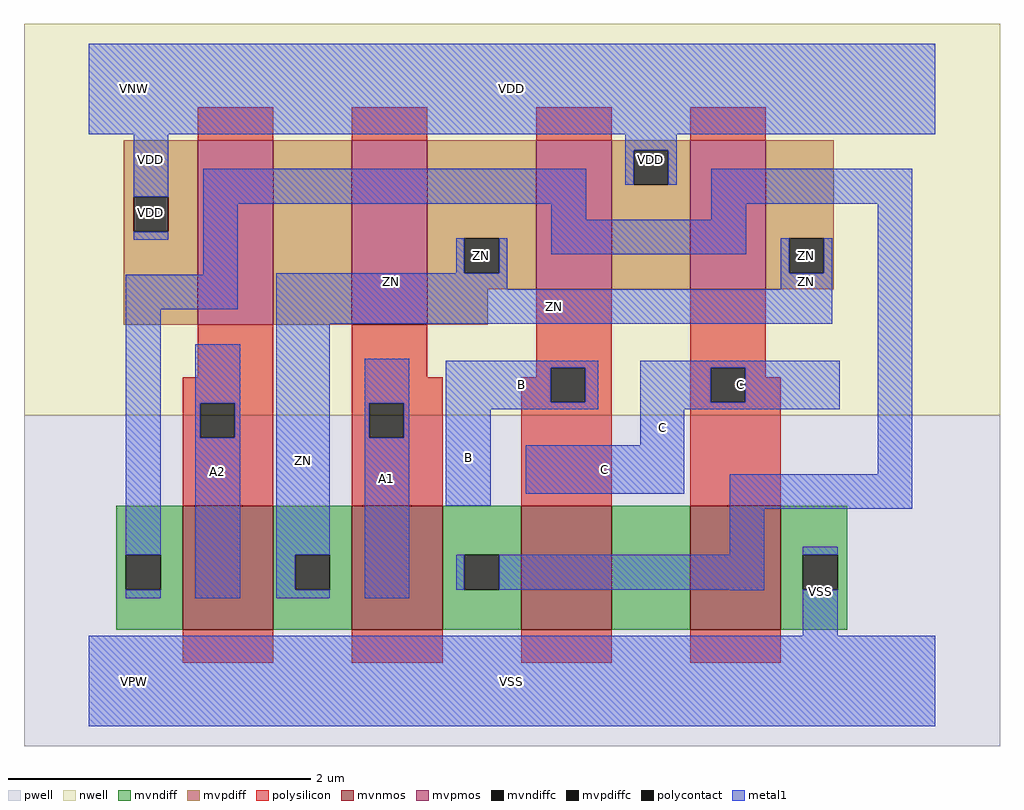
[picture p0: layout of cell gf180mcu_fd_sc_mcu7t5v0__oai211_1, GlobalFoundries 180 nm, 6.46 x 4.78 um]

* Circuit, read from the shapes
.subckt gf180mcu_fd_sc_mcu7t5v0__oai211_1 A1 A2 B C ZN VDD VNW VPW VSS
XM1 ZN A2 n1 VPW nfet_06v0 w=0.82u l=0.6u
XM2 n1 A1 ZN VPW nfet_06v0 w=0.82u l=0.6u
XM3 n2 B n1 VPW nfet_06v0 w=0.82u l=0.6u
XM4 VSS C n2 VPW nfet_06v0 w=0.82u l=0.6u
XM5 n3 A2 VDD VNW pfet_06v0 w=1.22u l=0.5u
XM6 ZN A1 n3 VNW pfet_06v0 w=1.22u l=0.5u
XM7 VDD B ZN VNW pfet_06v0 w=0.985u l=0.5u
XM8 ZN C VDD VNW pfet_06v0 w=0.985u l=0.5u
.ends

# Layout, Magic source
magic
tech gf180mcuD
magscale 1 10
<< nwell >>
rect -86 352 1206 870
<< pwell >>
rect -86 -86 1206 352
<< mvnmos >>
rect 124 68 244 232
rect 348 68 468 232
rect 572 68 692 232
rect 796 68 916 232
<< mvpmos >>
rect 144 472 244 716
rect 348 472 448 716
rect 592 519 692 716
rect 796 519 896 716
<< mvndiff >>
rect 36 167 124 232
rect 36 121 49 167
rect 95 121 124 167
rect 36 68 124 121
rect 244 167 348 232
rect 244 121 273 167
rect 319 121 348 167
rect 244 68 348 121
rect 468 167 572 232
rect 468 121 497 167
rect 543 121 572 167
rect 468 68 572 121
rect 692 68 796 232
rect 916 167 1004 232
rect 916 121 945 167
rect 991 121 1004 167
rect 916 68 1004 121
<< mvpdiff >>
rect 46 641 144 716
rect 46 595 59 641
rect 105 595 144 641
rect 46 472 144 595
rect 244 472 348 716
rect 448 586 592 716
rect 448 540 497 586
rect 543 540 592 586
rect 448 519 592 540
rect 692 703 796 716
rect 692 657 721 703
rect 767 657 796 703
rect 692 519 796 657
rect 896 586 986 716
rect 896 540 927 586
rect 973 540 986 586
rect 896 519 986 540
rect 448 472 528 519
<< mvndiffc >>
rect 49 121 95 167
rect 273 121 319 167
rect 497 121 543 167
rect 945 121 991 167
<< mvpdiffc >>
rect 59 595 105 641
rect 497 540 543 586
rect 721 657 767 703
rect 927 540 973 586
<< polysilicon >>
rect 144 716 244 760
rect 348 716 448 760
rect 592 716 692 760
rect 796 716 896 760
rect 144 402 244 472
rect 124 368 244 402
rect 124 322 147 368
rect 193 322 244 368
rect 124 232 244 322
rect 348 402 448 472
rect 592 415 692 519
rect 592 402 611 415
rect 348 368 468 402
rect 348 322 371 368
rect 417 322 468 368
rect 348 232 468 322
rect 572 369 611 402
rect 657 369 692 415
rect 572 232 692 369
rect 796 415 896 519
rect 796 369 823 415
rect 869 402 896 415
rect 869 369 916 402
rect 796 232 916 369
rect 124 24 244 68
rect 348 24 468 68
rect 572 24 692 68
rect 796 24 916 68
<< polycontact >>
rect 147 322 193 368
rect 371 322 417 368
rect 611 369 657 415
rect 823 369 869 415
<< metal1 >>
rect 0 724 1120 844
rect 59 641 105 724
rect 710 703 778 724
rect 59 584 105 595
rect 151 632 658 678
rect 710 657 721 703
rect 767 657 778 703
rect 151 538 197 632
rect 612 611 658 632
rect 824 632 1090 678
rect 824 611 870 632
rect 486 540 497 586
rect 543 540 554 586
rect 612 565 870 611
rect 49 492 197 538
rect 248 519 554 540
rect 916 540 927 586
rect 973 540 984 586
rect 916 519 984 540
rect 49 167 95 492
rect 248 473 984 519
rect 49 110 95 121
rect 141 368 200 446
rect 141 322 147 368
rect 193 322 200 368
rect 141 110 200 322
rect 248 167 319 473
rect 248 121 273 167
rect 248 110 319 121
rect 365 368 424 427
rect 365 322 371 368
rect 417 322 424 368
rect 365 110 424 322
rect 472 415 674 424
rect 472 369 611 415
rect 657 369 674 415
rect 472 360 674 369
rect 730 415 994 424
rect 730 369 823 415
rect 869 369 994 415
rect 730 360 994 369
rect 472 232 532 360
rect 730 312 788 360
rect 578 248 788 312
rect 1044 274 1090 632
rect 848 228 1090 274
rect 848 167 894 228
rect 486 121 497 167
rect 543 121 894 167
rect 848 120 894 121
rect 945 167 991 178
rect 945 60 991 121
rect 0 -60 1120 60
<< labels >>
flabel metal1 s 472 360 674 424 0 FreeSans 400 0 0 0 B
port 3 nsew default input
flabel metal1 s 730 360 994 424 0 FreeSans 400 0 0 0 C
port 4 nsew default input
flabel metal1 s 0 724 1120 844 0 FreeSans 400 0 0 0 VDD
port 6 nsew power bidirectional abutment
flabel metal1 s 945 60 991 178 0 FreeSans 400 0 0 0 VSS
port 9 nsew ground bidirectional abutment
flabel metal1 s 916 540 984 586 0 FreeSans 400 0 0 0 ZN
port 5 nsew default output
flabel metal1 s 365 110 424 427 0 FreeSans 400 0 0 0 A1
port 1 nsew default input
flabel metal1 s 141 110 200 446 0 FreeSans 400 0 0 0 A2
port 2 nsew default input
flabel nwell s 10 734 110 834 0 FreeSans 400 0 0 0 VNW
port 7 nsew power bidirectional
flabel pwell s 10 -50 110 50 0 FreeSans 400 0 0 0 VPW
port 8 nsew ground bidirectional
rlabel metal1 s 472 232 532 360 1 B
port 3 nsew default input
rlabel metal1 s 730 312 788 360 1 C
port 4 nsew default input
rlabel metal1 s 578 248 788 312 1 C
port 4 nsew default input
rlabel metal1 s 486 540 554 586 1 ZN
port 5 nsew default output
rlabel metal1 s 916 519 984 540 1 ZN
port 5 nsew default output
rlabel metal1 s 248 519 554 540 1 ZN
port 5 nsew default output
rlabel metal1 s 248 473 984 519 1 ZN
port 5 nsew default output
rlabel metal1 s 248 110 319 473 1 ZN
port 5 nsew default output
rlabel metal1 s 710 657 778 724 1 VDD
port 6 nsew power bidirectional abutment
rlabel metal1 s 59 657 105 724 1 VDD
port 6 nsew power bidirectional abutment
rlabel metal1 s 59 584 105 657 1 VDD
port 6 nsew power bidirectional abutment
rlabel metal1 s 0 -60 1120 60 1 VSS
port 9 nsew ground bidirectional abutment
<< properties >>
string FIXED_BBOX 0 0 1120 784
string GDS_END 92694
string GDS_FILE $PDKPATH/libs.ref/gf180mcu_fd_sc_mcu7t5v0/gds/gf180mcu_fd_sc_mcu7t5v0.gds
string GDS_START 89208
string LEFclass core
string LEFsite GF018hv5v_mcu_sc7
string LEFsymmetry X Y
<< end >>
